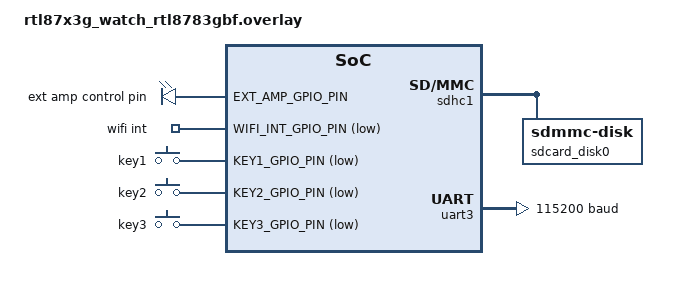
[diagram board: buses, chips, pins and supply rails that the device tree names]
/*
 * Copyright(c) 2024, Realtek Semiconductor Corporation.
 *
 * SPDX-License-Identifier: Apache-2.0
 */

#include <zephyr/dt-bindings/gpio/realtek-rtl87x3g-gpio.h>
#include <dt-bindings/pinctrl/rtl87x3g-pinctrl.h>

&sdhc1 {
	sdcard_disk0: sdcard_disk0 {
		compatible = "zephyr,sdmmc-disk";
		status = "okay";
	};
};



&uart3 {
	pinctrl-0 = <&uart3_default>;
	pinctrl-1 = <&uart3_sleep>;
	pinctrl-names = "default", "sleep";
	status = "okay";
	current-speed = <115200>;
	parity = "none";
	stop-bits = "1";
	data-bits = <8>;
	dmas = <&dma0 2 49 0xa>, <&dma0 3 48 0x10021>;
    dma-names = "rx", "tx";
};

&pinctrl {
	uart3_default:uart3_default {
		group1 {
			psels = <RTL87X3G_PSEL(UART3_TX, UART3_TX_PIN, DIR_OUT, DRV_HIGH, PULL_UP)>,
			<RTL87X3G_PSEL(UART3_RX, UART3_RX_PIN, DIR_IN, DRV_HIGH, PULL_UP)>;
		};
	};

	uart3_sleep:uart3_sleep {
		group1 {
			psels = <RTL87X3G_PSEL(SW_MODE, UART3_TX_PIN, DIR_OUT, DRV_HIGH, PULL_UP)>;
		};
		group2 {
			psels = <RTL87X3G_PSEL(SW_MODE, UART3_RX_PIN, DIR_IN, DRV_HIGH, PULL_UP)>;
			wakeup-low;
		};
	};
};

/*delete-node only support nodes with lable */
/delete-node/ &dtcm;
/delete-node/ &heap_dtcm;
/delete-node/ &sram;
/delete-node/ &heap_sram;
/delete-node/ &itcm;
/delete-node/ &heap_itcm;
/delete-node/ &dsp_share_ram;
/delete-node/ &psram1_for_mcu;

/ {
	aliases {
		dma-0 = &dma0;
		rtc = &rtc;
		sdhc0 = &sdhc0;
		uart3 = &uart3;
		ext-amp = &ext_amp;
		wifi-int = &wifi_int;
    };
	gpio_output{
		compatible = "gpio-leds";
		ext_amp: ext_amp{
			//P2_5       19  /*!< GPIOA20  <&gpioa 20 GPIO_ACTIVE_HIGH > */
			gpios = <EXT_AMP_GPIO_PIN GPIO_ACTIVE_HIGH >;
			label = "ext amp control pin";
		};
	};
	gpio_devs {
		compatible = "gpio-keys";
		wifi_int: wifi_int{
			gpios = <WIFI_INT_GPIO_PIN GPIO_ACTIVE_LOW >;
			label = "wifi int";
		};
	};
	gpio_keys: gpio_keys{
		compatible = "realtek,gpio-keys";
		debounce-interval-ms = <30>;
		key1: key1{
			gpios = <KEY1_GPIO_PIN (GPIO_ACTIVE_LOW | GPIO_PULL_UP| RTL87X3G_GPIO_INPUT_PM_WAKEUP)>;
			label = "key1";
			key,id = <100>;
			status = "okay";
		};
		key2: key2{
			gpios = <KEY2_GPIO_PIN (GPIO_ACTIVE_LOW | GPIO_PULL_UP)>;
			label = "key2";
			key,id = <101>;
			status = "okay";
		};
		key3: key3{
			gpios = <KEY3_GPIO_PIN (GPIO_ACTIVE_LOW | GPIO_PULL_UP)>;
			label = "key3";
			key,id = <102>;
			status = "okay";
		};
	};	
	/* DTCM addr: 0x20000000~0x20020000, total size: 128KByte.
	 * The front 46Kbyte was taken by RTK internal.
	 * If users wants to increase global variables and zephyr static heap,
	 * please follow the steps:
	 * 1. increase dtcm size value "reg = <0x2000B800 DT_SIZE_K(NEW_SIZE)>"
	 * 2. modify heap_dtcm addr label "heap_dtcm: memory@NEW_ADDR"
	 * 3. modify heap_dtcm reg addr "reg = <NEW_ADDR DT_SIZE_K(NEW_SIZE)>"
	 * 4. decrease heap_dtcm size value "reg = <NEW_ADDR DT_SIZE_K(NEW_SIZE)>"
	 * Warning: 
	 * 1. the dtcm address should NOT modified!
	 * 2. the dtcm plus heap_dtcm size should NOT exceed 82KByte!
	 */
	dtcm {
		dtcm: memory@2000b800 {
			device_type = "dtcm region";
			reg = <0x2000B800 DT_SIZE_K(81)>;
		};
		heap_dtcm: memory@2001fc00 {
			device_type = "heap dtcm region";
			reg = <0x2001FC00 DT_SIZE_K(1)>;
		};
	};
	/* sram addr: 0x20020000~0x20048000, total size: 160KByte.
	 * call zephyr_code_relocate(FILES xxx.x LOCATION SRAM) at cmakelist could relocate variables on sram. 
	 * for more information, please refer to https://docs.zephyrproject.org/latest/kernel/code-relocation.html
	 * If users wants to increase sram size, please follow the steps:
	 * 1. increase sram size value "reg = <0x20020000 DT_SIZE_K(NEW_SIZE)>"
	 * 2. modify heap_sram addr label "heap_sram: memory@NEW_ADDR"
	 * 3. modify heap_sram reg addr "reg = <NEW_ADDR DT_SIZE_K(NEW_SIZE)>"
	 * 4. decrease heap_sram size value "reg = <NEW_ADDR DT_SIZE_K(NEW_SIZE)>"
	 * Warning: 
	 * 1. the sram address should NOT modified!
	 * 2. the sram plus heap_sram size should NOT exceed 160KByte!
	 */
	sram {
		sram: memory@20020000 {
			device_type = "sram region";
			compatible = "zephyr,memory-region", "mmio-sram";
			reg = <0x20020000 DT_SIZE_K(50)>;
			zephyr,memory-region = "SRAM";
		};
		heap_sram: memory@2002C800 {
			device_type = "heap sram region";
			reg = <0x2002C800 DT_SIZE_K(110)>;
		};
	};

	itcm {
		itcm: memory@c0c00 {
			device_type = "itcm region";
			compatible = "zephyr,memory-region", "arm,itcm";
			zephyr,memory-region = "ITCM";
			reg = <0xC0C00 DT_SIZE_K(27)>;
		};
		heap_itcm: memory@c7800 {
			device_type = "heap itcm region";
			reg = <0xC7800 DT_SIZE_K(66)>;
		};
	};

	dsp_ram {
		dsp_share_ram: memory@20048000 {
			compatible = "zephyr,memory-region";
			device_type = "dsp_share_ram region";
			zephyr,memory-region = "DSPRAM";
			reg = <0x20048000 DT_SIZE_K(80)>;
		};
	};

	psram1 {
		psram1_for_dsp: memory@24000000{
			compatible = "zephyr,memory-region";
			reg = <0x24000000 DT_SIZE_K(512)>;
			zephyr,memory-region = "PSRAM1_DSP";
		};
		psram1_for_mcu: memory@24080000{
			compatible = "zephyr,memory-region";
			reg = <0x24080000 DT_SIZE_K(6656)>;
			zephyr,memory-region = "PSRAM1_MCU";
		};
		/* Last 1M of psram1: dedicated non-cacheable region.
		 * app_lower_init.c programs it as MPU region 5 (attr 0x44,
		 * non-cacheable). Use it ONLY by defining variables in the
		 * PSRAM1_NC linker section (see LINKER_DT_NODE_REGION_NAME);
		 * do NOT reference the raw address. The section is NOLOAD, so
		 * it is not zeroed/copied at boot - initialise its contents at
		 * runtime after psram is powered up (app_lower_init). */
		psram1_nc: memory@24700000 {
			compatible = "zephyr,memory-region";
			reg = <0x24700000 DT_SIZE_K(1024)>;
			zephyr,memory-region = "PSRAM1_NC";
		};
	};
};

